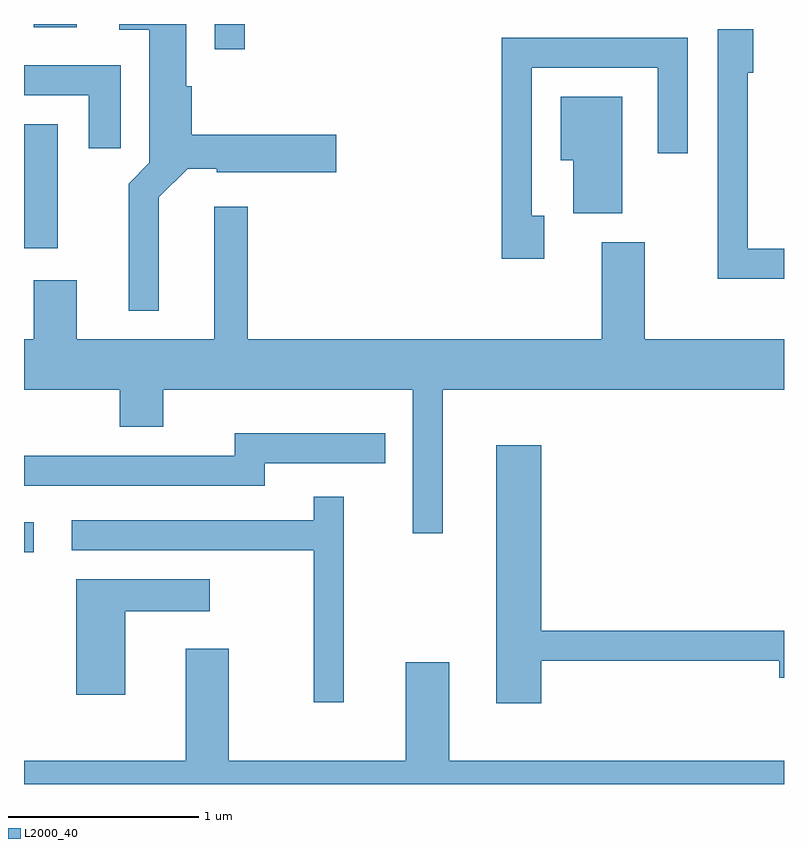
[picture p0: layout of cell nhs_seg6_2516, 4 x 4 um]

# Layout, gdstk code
import gdstk
lib = gdstk.Library(unit=1e-6, precision=1e-09)
def R(c, l, rs):  # rectangles x0, y0, x1, y1
    for r in rs: c.add(gdstk.rectangle(r[:2], r[2:], *l))
def P(c, l, *ps):  # polygons
    for p in ps: c.add(gdstk.Polygon(p, *l))
L2000_40 = (2000, 40)

nhs_seg6_2516 = lib.new_cell('nhs_seg6_2516')
R(nhs_seg6_2516, L2000_40, [(261.611,1571.381,261.663,1571.539), (261.611,1572.981,261.789,1573.634), (262.616,1574.028,262.774,1574.162), (261.661,1574.146,261.889,1574.162)])
P(nhs_seg6_2516, L2000_40, [(262.319,1573.249),(262.472,1573.401),(262.626,1573.401),(262.626,1573.381),(263.254,1573.381),(263.254,1573.579),(262.494,1573.579),(262.494,1573.834),(262.464,1573.834),(262.464,1574.162),(262.113,1574.162),(262.113,1574.131),(262.271,1574.131),(262.271,1573.432),(262.161,1573.322),(262.161,1572.653),(262.319,1572.653)],
  [(265.611,1572.979),(265.419,1572.979),(265.419,1573.906),(265.449,1573.906),(265.449,1574.134),(265.261,1574.134),(265.261,1572.821),(265.611,1572.821)],
  [(264.349,1573.154),(264.284,1573.154),(264.284,1573.931),(264.946,1573.931),(264.946,1573.483),(265.104,1573.483),(265.104,1574.089),(264.126,1574.089),(264.126,1572.926),(264.349,1572.926)],
  [(262.119,1573.944),(261.611,1573.944),(261.611,1573.786),(261.951,1573.786),(261.951,1573.508),(262.119,1573.508)],
  [(264.759,1573.779),(264.436,1573.779),(264.436,1573.446),(264.501,1573.446),(264.501,1573.166),(264.759,1573.166)],
  [(263.814,1572.236),(265.611,1572.236),(265.611,1572.504),(264.879,1572.504),(264.879,1573.014),(264.651,1573.014),(264.651,1572.504),(262.789,1572.504),(262.789,1573.199),(262.611,1573.199),(262.611,1572.504),(261.889,1572.504),(261.889,1572.814),(261.661,1572.814),(261.661,1572.504),(261.611,1572.504),(261.611,1572.236),(262.116,1572.236),(262.116,1572.041),(262.344,1572.041),(262.344,1572.236),(263.656,1572.236),(263.656,1571.483),(263.814,1571.483)],
  [(262.879,1571.851),(263.513,1571.851),(263.513,1572.009),(262.721,1572.009),(262.721,1571.889),(261.611,1571.889),(261.611,1571.731),(262.879,1571.731)],
  [(264.334,1570.811),(265.586,1570.811),(265.586,1570.721),(265.611,1570.721),(265.611,1570.969),(264.334,1570.969),(264.334,1571.944),(264.096,1571.944),(264.096,1570.586),(264.334,1570.586)],
  [(263.294,1571.673),(263.136,1571.673),(263.136,1571.549),(261.863,1571.549),(261.863,1571.391),(263.136,1571.391),(263.136,1570.593),(263.294,1570.593)],
  [(262.144,1571.071),(262.588,1571.071),(262.588,1571.239),(261.886,1571.239),(261.886,1570.631),(262.144,1570.631)],
  [(265.611,1570.284),(263.849,1570.284),(263.849,1570.804),(263.621,1570.804),(263.621,1570.284),(262.689,1570.284),(262.689,1570.874),(262.461,1570.874),(262.461,1570.284),(261.611,1570.284),(261.611,1570.162),(265.611,1570.162)])

lib.write_gds('nhs_seg6_2516.gds')
